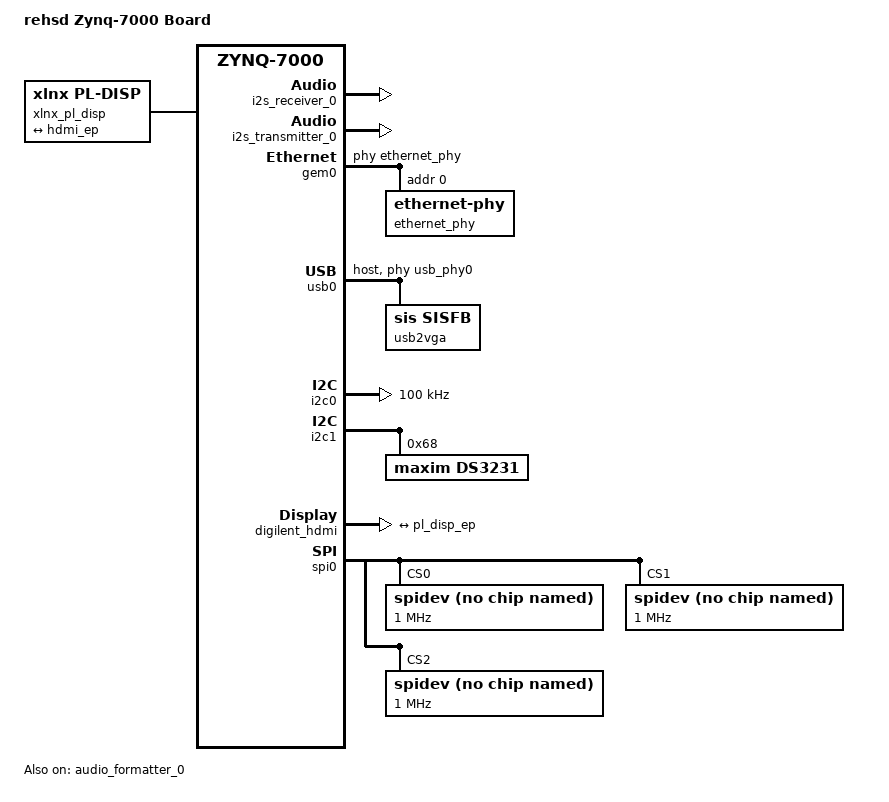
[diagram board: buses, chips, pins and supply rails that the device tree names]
/include/ "system-conf.dtsi"
#include <dt-bindings/gpio/gpio.h>
/ {
	model = "rehsd Zynq-7000 Board";
	compatible = "rehsd,zynq-7000", "xlnx,zynq-7000";
	chosen {
		bootargs = "console=ttyPS0,115200 earlyprintk root=/dev/mmcblk0p2 rw rootwait uio_pdrv_genirq.of_id=generic-uio video=HDMI-A-1:1280x720M-24@60 loglevel=7";
	};
	
	usb_phy0: usb_phy@0 {
		compatible = "ulpi-phy";
		#phy-cells = <0>;	
		reg = <0xe0002000 0x1000>;
		view-port = <0x0170>;
		reset-gpios = <&gpio0 46 1>;
		drv-vbus;
	};
};
&i2s_receiver_0 {
	compatible = "cirrus,cs5343";
	reg = <0x43c20000 0x10000>;
	//xlnx,device-id = <0>;
	interrupts = <0 65 4>;
	status = "okay";
};
&i2s_transmitter_0 {
	compatible = "cirrus,cs4344";
	reg = <0x43c30000 0x10000>;
	//xlnx,device-id = <1>;
	interrupts = <0 64 4>;
	status = "okay";
};
&audio_formatter_0 {
	compatible = "xlnx,audio-formatter-1.0";
	reg = <0x43c00000 0x10000>;
	//xlnx,device-id = <0>;
	interrupts = <0 66 4>, <0 67 4>;
	status = "okay";
	//sound-dai = <&i2s_transmitter_0 &i2s_receiver_0>;
	xlnx,tx = <&i2s_transmitter_0>;
	xlnx,rx = <&i2s_receiver_0>;
};
&gem0 {
        phy-handle = <&ethernet_phy>;
        ethernet_phy: ethernet-phy@0 {
                device_type = "ethernet-phy";
                reg = <0>;
                /* dt-bindings/phy/realtek.h */
                /* #define REALTEK_LED_LINK10              BIT(0)
                   #define REALTEK_LED_LINK100             BIT(1)
                   #define REALTEK_LED_LINK1000            BIT(3)
                   #define REALTEK_LED_ACT                 BIT(4)
                   #define REALTEK_LED_DEFAULT             BIT(7)
                */
                /* LED0=10+A, LED1=100+A, LED2=1000+A */
                realtek,leds-config = <0x11 0x12 0x18>;
        };
};
&usb0 {
   	status = "okay";
   	dr_mode = "host";
   	usb-phy = <&usb_phy0>;

	
	/* HID (Human Interface Device) for mouse */
	/* mouse@1 {
	    compatible = "usb-mouse";
	    status = "okay";
	};
	*/

	usb2vga {
		compatible = "sis,sisfb";	/* sisusb (x), sisfb (x), sisusbvga, sis ? */
		vendor_id = <0x0711>;
		product_id = <0x0900>;
		status = "okay"; 
		framebuffer {
			label = "fb1"; 
			compatible = "linux,fb"; 
			linux,fb_base = <0x0>; 
		};
	};
};
&i2c0 {
    	clock-frequency = <100000>;
    	status = "okay";
};
&i2c1 {
	status = "okay";
	ds3231: rtc@68 {
		compatible = "maxim,ds3231";
		reg = <0x68>;
	};
};

&amba_pl {
	digilent_hdmi {
		compatible = "digilent,hdmi";
		clocks = <&axi_dynclk_0>;
		clock-names = "clk";
		digilent,edid-i2c = <&i2c0>;
		digilent,fmax = <150000>;
		digilent,hmax = <1920>;
		digilent,vmax = <1080>;
		digilent,hpref = <1280>;
		digilent,vpref = <720>;
		port@0 { 
			hdmi_ep: endpoint { 
				remote-endpoint = <&pl_disp_ep>; 
			}; 
		}; 
	};
	xlnx_pl_disp {
		compatible = "xlnx,pl-disp";
		device-id = <0xaa01>;
		dmas = <&axi_vdma_0 0>; 	
		dma-names = "dma0"; 
		xlnx,vformat = "RG24"; 	/* "RG24" -- XB24.no BG24.no AR24.no XR24.no RG24.yes */
		xlnx,bridge = <&v_tc_0>; 
		port@0 { 
			pl_disp_ep: endpoint { 
				remote-endpoint = <&hdmi_ep>; 
			}; 
		};
	};
};
&spi0 {
	is-decoded-cs = <0>;
	num-cs = <3>;
	bus-num = <0>;
	status = "okay";
	spidev@0x00 {
		//compatible = "spidev";
		//see https://www.hackster.io/whitney-knitter/spidev-tutorial-for-zynq-7000-fpga-devices-b5e399
		//see https://stackoverflow.com/questions/53634892/linux-spidev-why-it-shouldnt-be-directly-in-devicetree
		compatible = "rohm,dh2228fv";
		spi-max-frequency = <1000000>;    //max of 25 Mhz
		reg = <0>;
		
		//SPI mode
		spi-cpol = <0>;
		spi-cpha = <0>;
	};
	spidev@0x01 {
		compatible = "spidev";
		spi-max-frequency = <1000000>;
		reg = <1>;
	};
	spidev@0x02 {
		compatible = "spidev";
		spi-max-frequency = <1000000>;
		reg = <2>;
	};
};
&axi_vdma_0 {
	device-id = <0xaa02>;
	reg = < 0x43000000 0x10000 >;
	dma-ranges = <0x00000000 0x00000000 0x40000000>;
	xlnx,num-fstores = <0x4>;
	/*
	vdma-channel@43000000 {
		xlnx,datawidth = <0x40>;
		xlnx,device-id = <0x0>;
	} ;
	*/
};
&axi_dynclk_0 {
	compatible = "dglnt,axi-dynclk";
	#clock-cells = <0>;
	clocks = <&clkc 15>;
};
&v_tc_0 {
	compatible = "xlnx,bridge-v-tc-6.1";	/* 6.2 is the from the block design, but doesn't work here */
	xlnx,pixels-per-clock = <1>; 
};
&axi_gpio_hdmi {
	compatible = "generic-uio";	
};

/*
&gpio0 {
    spi_clk {
        gpio-hog;
        gpios = <54 0>;  // Corresponding to R6 (SPI_CLK)
        output-low;
        line-name = "SPI_SCK";
    };
    spi_mosi {
        gpio-hog;
        gpios = <55 0>;  // Corresponding to T4 (SPI_MOSI)
        output-low;
        line-name = "SPI_MOSI";
    };
    spi_miso {
        gpio-hog;
        gpios = <56 0>;  // Corresponding to U6 (SPI_MISO)
        input;
        line-name = "SPI_MISO";
    };
    spi_cs {
        gpio-hog;
        gpios = <57 0>;  // Corresponding to V5 (SPI_CS0)
        output-low;
        line-name = "SPI_CS";
    };
    spi_cs1 {
        gpio-hog;
        gpios = <58 0>;  // Corresponding to V7 (SPI_CS1)
        output-low;
        line-name = "SPI_CS1";
    };
    spi_cs2 {
        gpio-hog;
        gpios = <59 0>;  // Corresponding to W6 (SPI_CS2)
        output-low;
        line-name = "SPI_CS2";
    };
};
*/
